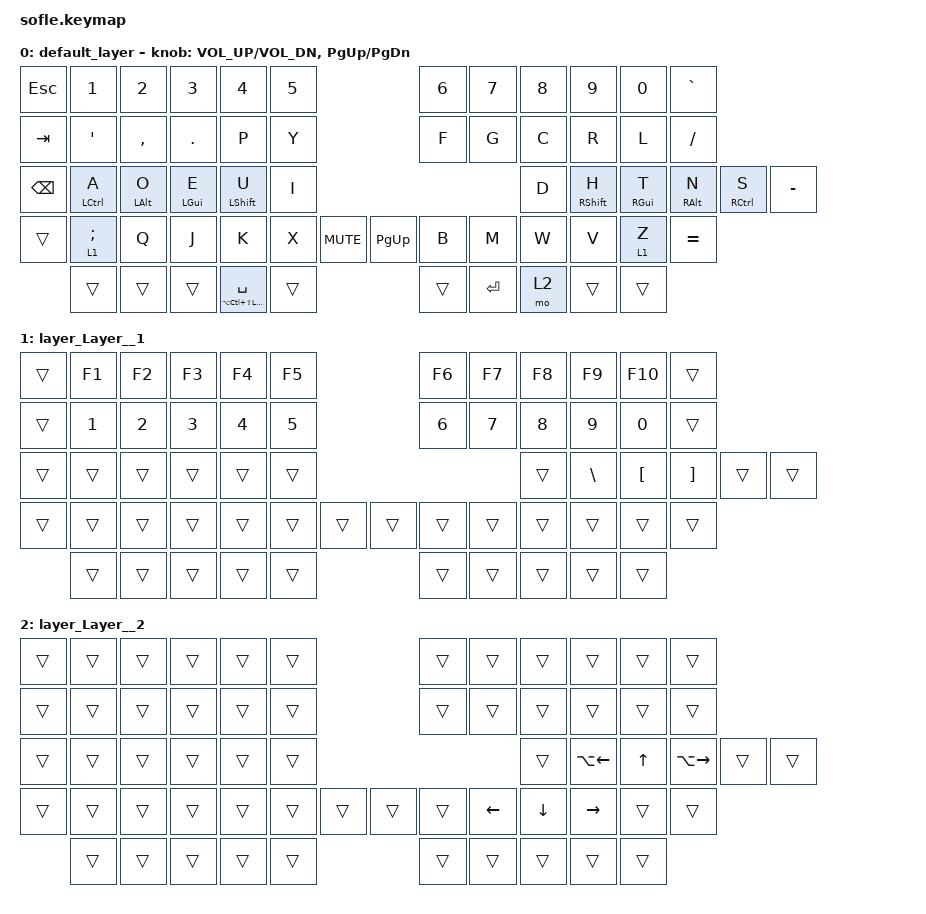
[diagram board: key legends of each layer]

/*
 * Copyright (c) 2020 The ZMK Contributors
 *
 * SPDX-License-Identifier: MIT
 */


/* THIS FILE WAS GENERATED!
 *
 * This file was generated automatically. You may or may not want to
 * edit it directly.
 */

#include <behaviors.dtsi>
#include <dt-bindings/zmk/keys.h>

/ {
    behaviors {
        bhm: balanced_homerow_mods {
            compatible = "zmk,behavior-hold-tap";
            label = "HOMEROW_MODS";
            #binding-cells = <2>;
            tapping-term-ms = <200>;    // <---[[moderate duration]]
            quick-tap-ms = <0>;
            flavor = "balanced";
            bindings = <&kp>, <&kp>;
        };
        hm: homerow_mods {
            compatible = "zmk,behavior-hold-tap";
            label = "HOMEROW_MODS";
            #binding-cells = <2>;
            tapping-term-ms = <250>;
            quick-tap-ms = <-1>;
            flavor = "tap-preferred";
            bindings = <&kp>, <&kp>;
        };
    };
    
    keymap {
        compatible = "zmk,keymap";


        default_layer {
            bindings = <
    &kp ESCAPE        &kp NUMBER_1    &kp NUMBER_2    &kp NUMBER_3      &kp NUMBER_4  &kp NUMBER_5                                     &kp NUMBER_6       &kp NUMBER_7     &kp NUMBER_8     &kp NUMBER_9         &kp NUMBER_0      &kp GRAVE
       &kp TAB    &kp SINGLE_QUOTE       &kp COMMA         &kp DOT             &kp P         &kp Y                                            &kp F              &kp G            &kp C            &kp R                &kp L      &kp SLASH
 &kp BACKSPACE  &hm LEFT_CONTROL A  &hm LEFT_ALT O  &hm LEFT_GUI E  &hm LEFT_SHIFT U         &kp I                                            &kp D  &hm RIGHT_SHIFT H  &hm RIGHT_GUI T  &hm RIGHT_ALT N  &hm RIGHT_CONTROL S      &kp MINUS
        &trans     &lt 1 SEMICOLON           &kp Q           &kp J             &kp K         &kp X            &kp K_MUTE  &kp PAGE_UP         &kp B              &kp M            &kp W            &kp V              &lt 1 Z  &kp EQUAL
                            &trans          &trans          &trans         &mt LA(LC(LS(LEFT_GUI))) SPACE        &trans                                           &trans         &kp RETURN            &mo 2           &trans               &trans
            >;
          sensor-bindings = <&inc_dec_kp C_VOL_UP C_VOL_DN &inc_dec_kp PG_UP PG_DN>;
        };

        layer_Layer__1 {
            bindings = <
 &trans        &kp F1        &kp F2        &kp F3        &kp F4        &kp F5                                  &kp F6        &kp F7        &kp F8        &kp F9       &kp F10  &trans
 &trans  &kp NUMBER_1  &kp NUMBER_2  &kp NUMBER_3  &kp NUMBER_4  &kp NUMBER_5                            &kp NUMBER_6  &kp NUMBER_7  &kp NUMBER_8  &kp NUMBER_9  &kp NUMBER_0  &trans
 &trans        &trans        &trans        &trans        &trans        &trans                                  &trans        &kp BACKSLASH     &kp LEFT_BRACKET    &kp RIGHT_BRACKET        &trans  &trans
 &trans        &trans        &trans        &trans        &trans        &trans            &trans  &trans        &trans        &trans        &trans        &trans        &trans  &trans
               &trans        &trans        &trans        &trans        &trans                                  &trans        &trans        &trans        &trans        &trans
            >;
        };

        layer_Layer__2 {
            bindings = <
 &trans  &trans  &trans  &trans  &trans  &trans                            &trans    &trans          &trans     &trans  &trans  &trans
 &trans  &trans  &trans  &trans  &trans  &trans                            &trans    &trans          &trans     &trans  &trans  &trans
 &trans  &trans  &trans  &trans  &trans  &trans                            &trans    &kp LA(LEFT)   &kp UP_ARROW     &kp LA(RIGHT)  &trans  &trans
 &trans  &trans  &trans  &trans  &trans  &trans            &trans  &trans  &trans  &kp LEFT  &kp DOWN_ARROW  &kp RIGHT  &trans  &trans
         &trans  &trans  &trans  &trans  &trans                            &trans    &trans          &trans     &trans  &trans
            >;
        };

    };
};
